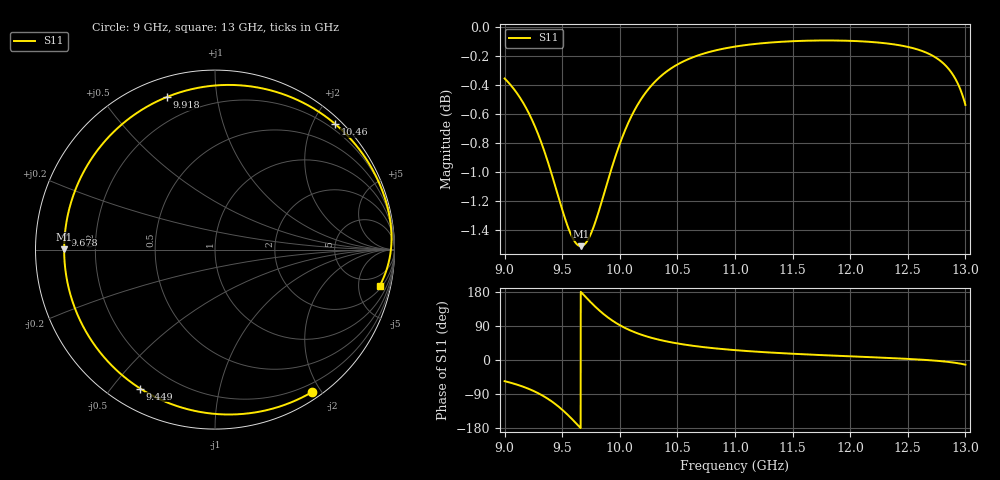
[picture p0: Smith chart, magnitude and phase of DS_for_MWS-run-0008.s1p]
! TOUCHSTONE file generated by CST DESIGN STUDIO
! Date and time: Tue Feb  4 18:40:48 2025
! Project name: C:\Work\MatlabApps\UnitCellOptimizationMatlab\CST\unitcell.cst
! Tree item: Tasks\Sweep1\SPara1\S-Parameters
! Header version: 2024
! Port assignment regex: !\s*Touchstone port\s*([0-9]+)\s*=\s*(CST MWS port|CST DES external port|CST DES block port)\s*(.+)\s* \(\"(.*)\"\)(\s*mode\s*([0-9]+))?.*
! Touchstone port assignment:
! Touchstone port 1 = CST DES external port 1 ("")
# GHz S MA R 50
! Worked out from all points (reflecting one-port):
!   4001 points, 9 GHz to 13 GHz, reference 50 ohm
!   lowest |S11| = -1.5 dB at 9.661 GHz (marker M1), VSWR 11.54, Z = 4.33 + j0.0233 ohm
!   phase of S11 starts at -56 deg and turns -316 deg over the sweep
!   S11 on the Smith chart (normalised r, x): 9 GHz: 0.09, -1.88; 9.449 GHz: 0.09, -0.59; 9.678 GHz: 0.09, +0.05; 9.918 GHz: 0.09, +0.73; 10.46 GHz: 0.10, +2.34; 13 GHz: 2.48, -8.58
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9  0.9603 -55.9
9.146  0.9441 -68.9
9.283  0.9204 -86.3
9.372  0.8997 -101.7
9.449  0.879 -118.3
9.5  0.8653 -131.2
9.542  0.8551 -142.9
9.587  0.8465 -156.4
9.625  0.842 -168.4
9.661  0.8406 179.9
9.678  0.8409 174.4
9.736  0.8467 156.0
9.803  0.8605 136.1
9.859  0.8752 121.3
9.918  0.8913 107.6
10  0.9117 91.9
10.1  0.9318 76.9
10.205  0.9472 64.9
10.321  0.9592 54.9
10.455  0.9686 46.1
10.5  0.971 43.7
10.719  0.9792 34.3
11  0.9849 26.0
11.5  0.9892 16.5
12  0.9894 9.7
12.5  0.9847 2.9
12.798  0.9728 -3.3
13  0.9404 -12.3
